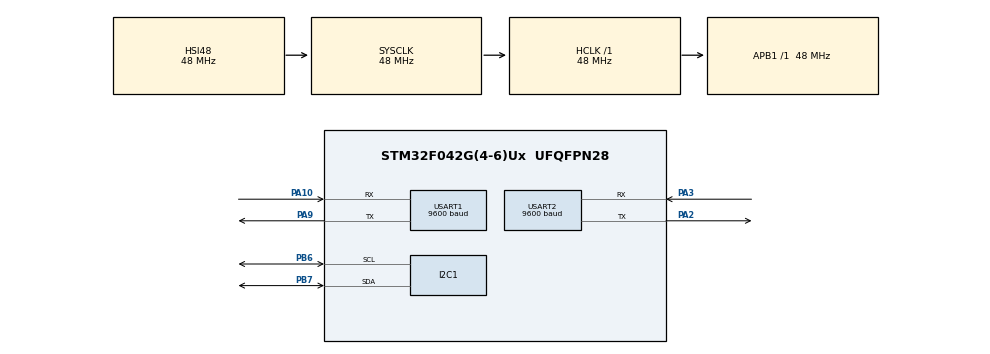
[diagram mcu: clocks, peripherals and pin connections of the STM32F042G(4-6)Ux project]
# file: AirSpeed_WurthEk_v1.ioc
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I2C1.I2C_Rise_Time=251
I2C1.Timing=0x00401D2A
Mcu.Family=STM32F0
Mcu.Name=STM32F042G(4-6)Ux
Mcu.Package=UFQFPN28
PA10.Mode=Asynchronous
PA10.Signal=USART1_RX
PA13.Mode=Serial_Wire
PA13.Signal=SYS_SWDIO
PA14.Mode=Serial_Wire
PA14.Signal=SYS_SWCLK
PA2.Mode=Asynchronous
PA2.Signal=USART2_TX
PA3.Mode=Asynchronous
PA3.Signal=USART2_RX
PA9.Mode=Asynchronous
PA9.Signal=USART1_TX
PB6.GPIO_Pu=GPIO_PULLUP
PB6.Mode=I2C
PB6.Signal=I2C1_SCL
PB7.GPIO_Pu=GPIO_PULLUP
PB7.Mode=I2C
PB7.Signal=I2C1_SDA
ProjectManager.HeapSize=0x200
ProjectManager.StackSize=0x400
ProjectManager.TargetToolchain=STM32CubeIDE
RCC.AHBFreq_Value=48000000
RCC.APB1Freq_Value=48000000
RCC.APB1TimFreq_Value=48000000
RCC.HCLKFreq_Value=48000000
RCC.PLLSourceVirtual=RCC_PLLSOURCE_HSI48
RCC.SYSCLKFreq_VALUE=48000000
RCC.SYSCLKSource=RCC_SYSCLKSOURCE_HSI48
USART1.BaudRate=9600
USART1.VirtualMode-Asynchronous=VM_ASYNC
USART2.BaudRate=9600
USART2.VirtualMode-Asynchronous=VM_ASYNC
board=custom

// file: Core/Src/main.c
/* USER CODE BEGIN Header */
/**
  ******************************************************************************
  * @file           : main.c
  * @brief          : Main program body
  ******************************************************************************
  * @attention
  *
  * Copyright (c) 2025 STMicroelectronics.
  * All rights reserved.
  *
  * This software is licensed under terms that can be found in the LICENSE file
  * in the root directory of this software component.
  * If no LICENSE file comes with this software, it is provided AS-IS.
  *
  ******************************************************************************
  */
/* USER CODE END Header */
#include "main.h"

/* USER CODE BEGIN Includes */
#include <stdio.h>
/* USER CODE END Includes */

I2C_HandleTypeDef hi2c1;

UART_HandleTypeDef huart1;
UART_HandleTypeDef huart2;

void SystemClock_Config(void);
static void MX_GPIO_Init(void);
static void MX_USART1_UART_Init(void);
static void MX_USART2_UART_Init(void);
static void MX_I2C1_Init(void);
/* USER CODE BEGIN PFP */
typedef struct {
    float pressure_kpa;
    float temperature_c;
    float humidity_rh;
    uint8_t *rolldata;
} SensorData_t;

SensorData_t HIDS, PADS, PDUS;

void PADS_Init(I2C_HandleTypeDef *hi2c);
HAL_StatusTypeDef HIDS_Read(I2C_HandleTypeDef *hi2c, SensorData_t *data);
HAL_StatusTypeDef PADS_Read(I2C_HandleTypeDef *hi2c, SensorData_t *data);
HAL_StatusTypeDef PDUS_Read(I2C_HandleTypeDef *hi2c, SensorData_t *data);
/* USER CODE END PFP */

/* USER CODE BEGIN 0 */
uint8_t Send_head[3]  = {0x02,0x00,0x3A};
uint8_t roll_data[18] = {0x02,0x00,0x0F};

/* USER CODE END 0 */

int main(void)
{

  /* MCU Configuration--------------------------------------------------------*/

  /* Reset of all peripherals, Initializes the Flash interface and the Systick. */
  HAL_Init();

  /* Configure the system clock */
  SystemClock_Config();

  /* Initialize all configured peripherals */
  MX_GPIO_Init();
  MX_USART1_UART_Init();
  MX_USART2_UART_Init();
  MX_I2C1_Init();

  /* Infinite loop */
  /* USER CODE BEGIN WHILE */
  PADS_Init(&hi2c1);
  while (1)
  {
    /* USER CODE END WHILE */

    /* USER CODE BEGIN 3 */
	HIDS.rolldata = &roll_data[3];
	PADS.rolldata = &roll_data[9];
	PDUS.rolldata = &roll_data[14];
	HIDS_Read(&hi2c1, &HIDS);
	HAL_Delay(10);
	PADS_Read(&hi2c1, &PADS);
	HAL_Delay(10);
	PDUS_Read(&hi2c1, &PDUS);
	HAL_Delay(10);

	//allroll_read(&hi2c1);

	//uint8_t tt[] = "Hello word";
	HAL_UART_Transmit(&huart1, roll_data, sizeof(roll_data), 100);
	//uint8_t gg[6] = {0x02,0x00,0x3A,0x55,0x85,0x68};
	HAL_UART_Transmit(&huart2, roll_data, sizeof(roll_data), 100);
	HAL_Delay(10);
  }
  /* USER CODE END 3 */
}

void SystemClock_Config(void)
{
  RCC_OscInitTypeDef RCC_OscInitStruct = {0};
  RCC_ClkInitTypeDef RCC_ClkInitStruct = {0};
  RCC_PeriphCLKInitTypeDef PeriphClkInit = {0};

  /** Initializes the RCC Oscillators according to the specified parameters
  * in the RCC_OscInitTypeDef structure.
  */
  RCC_OscInitStruct.OscillatorType = RCC_OSCILLATORTYPE_HSI|RCC_OSCILLATORTYPE_HSI48;
  RCC_OscInitStruct.HSIState = RCC_HSI_ON;
  RCC_OscInitStruct.HSI48State = RCC_HSI48_ON;
  RCC_OscInitStruct.HSICalibrationValue = RCC_HSICALIBRATION_DEFAULT;
  RCC_OscInitStruct.PLL.PLLState = RCC_PLL_NONE;
  if (HAL_RCC_OscConfig(&RCC_OscInitStruct) != HAL_OK)
  {
    Error_Handler();
  }

  /** Initializes the CPU, AHB and APB buses clocks
  */
  RCC_ClkInitStruct.ClockType = RCC_CLOCKTYPE_HCLK|RCC_CLOCKTYPE_SYSCLK
                              |RCC_CLOCKTYPE_PCLK1;
  RCC_ClkInitStruct.SYSCLKSource = RCC_SYSCLKSOURCE_HSI48;
  RCC_ClkInitStruct.AHBCLKDivider = RCC_SYSCLK_DIV1;
  RCC_ClkInitStruct.APB1CLKDivider = RCC_HCLK_DIV1;

  if (HAL_RCC_ClockConfig(&RCC_ClkInitStruct, FLASH_LATENCY_1) != HAL_OK)
  {
    Error_Handler();
  }
  PeriphClkInit.PeriphClockSelection = RCC_PERIPHCLK_USART1|RCC_PERIPHCLK_I2C1;
  PeriphClkInit.Usart1ClockSelection = RCC_USART1CLKSOURCE_PCLK1;
  PeriphClkInit.I2c1ClockSelection = RCC_I2C1CLKSOURCE_HSI;
  if (HAL_RCCEx_PeriphCLKConfig(&PeriphClkInit) != HAL_OK)
  {
    Error_Handler();
  }
}

static void MX_I2C1_Init(void)
{

  hi2c1.Instance = I2C1;
  hi2c1.Init.Timing = 0x00401D2A;
  hi2c1.Init.OwnAddress1 = 0;
  hi2c1.Init.AddressingMode = I2C_ADDRESSINGMODE_7BIT;
  hi2c1.Init.DualAddressMode = I2C_DUALADDRESS_DISABLE;
  hi2c1.Init.OwnAddress2 = 0;
  hi2c1.Init.OwnAddress2Masks = I2C_OA2_NOMASK;
  hi2c1.Init.GeneralCallMode = I2C_GENERALCALL_DISABLE;
  hi2c1.Init.NoStretchMode = I2C_NOSTRETCH_DISABLE;
  if (HAL_I2C_Init(&hi2c1) != HAL_OK)
  {
    Error_Handler();
  }

  /** Configure Analogue filter
  */
  if (HAL_I2CEx_ConfigAnalogFilter(&hi2c1, I2C_ANALOGFILTER_ENABLE) != HAL_OK)
  {
    Error_Handler();
  }

  /** Configure Digital filter
  */
  if (HAL_I2CEx_ConfigDigitalFilter(&hi2c1, 0) != HAL_OK)
  {
    Error_Handler();
  }

}

static void MX_USART1_UART_Init(void)
{

  huart1.Instance = USART1;
  huart1.Init.BaudRate = 9600;
  huart1.Init.WordLength = UART_WORDLENGTH_8B;
  huart1.Init.StopBits = UART_STOPBITS_1;
  huart1.Init.Parity = UART_PARITY_NONE;
  huart1.Init.Mode = UART_MODE_TX_RX;
  huart1.Init.HwFlowCtl = UART_HWCONTROL_NONE;
  huart1.Init.OverSampling = UART_OVERSAMPLING_16;
  huart1.Init.OneBitSampling = UART_ONE_BIT_SAMPLE_DISABLE;
  huart1.AdvancedInit.AdvFeatureInit = UART_ADVFEATURE_NO_INIT;
  if (HAL_UART_Init(&huart1) != HAL_OK)
  {
    Error_Handler();
  }

}

static void MX_USART2_UART_Init(void)
{

  huart2.Instance = USART2;
  huart2.Init.BaudRate = 9600;
  huart2.Init.WordLength = UART_WORDLENGTH_8B;
  huart2.Init.StopBits = UART_STOPBITS_1;
  huart2.Init.Parity = UART_PARITY_NONE;
  huart2.Init.Mode = UART_MODE_TX_RX;
  huart2.Init.HwFlowCtl = UART_HWCONTROL_NONE;
  huart2.Init.OverSampling = UART_OVERSAMPLING_16;
  huart2.Init.OneBitSampling = UART_ONE_BIT_SAMPLE_DISABLE;
  huart2.AdvancedInit.AdvFeatureInit = UART_ADVFEATURE_NO_INIT;
  if (HAL_UART_Init(&huart2) != HAL_OK)
  {
    Error_Handler();
  }

}

static void MX_GPIO_Init(void)
{

  /* GPIO Ports Clock Enable */
  __HAL_RCC_GPIOA_CLK_ENABLE();
  __HAL_RCC_GPIOB_CLK_ENABLE();

}

/* USER CODE BEGIN 4 */
#define HIDS_ADDR (0x44 <<1) //WSEN-HIDS (I²C 0x44) 讀取
#define PADS_ADDR (0x5C <<1) //WSEN-PADS (I²C 0x5C) 氣壓與溫度
#define PDUS_ADDR (0x78 <<1)

HAL_StatusTypeDef HIDS_Read(I2C_HandleTypeDef *hi2c, SensorData_t *data)
{
    uint8_t cmd = 0xFD;
    uint8_t rx[6];
    HAL_I2C_Master_Transmit(hi2c, HIDS_ADDR, &cmd, 1, HAL_MAX_DELAY);
    HAL_Delay(9); // wait conversion
    HAL_I2C_Master_Receive(hi2c, HIDS_ADDR, data->rolldata, 6, HAL_MAX_DELAY);

    uint16_t Traw = (data->rolldata[0] << 8) | data->rolldata[1];
    uint16_t RHraw = (data->rolldata[3] << 8) | data->rolldata[4];

    data->temperature_c = -45.0f + 175.0f * (float)Traw / 65535.0f;
    data->humidity_rh = 100.0f * (float)RHraw / 65535.0f;
    return HAL_OK;
}

void PADS_Init(I2C_HandleTypeDef *hi2c)
{
    uint8_t cfg[2] = {0x11, 0b00010010}; //
    HAL_I2C_Master_Transmit(hi2c, PADS_ADDR, cfg, 2, HAL_MAX_DELAY);
    uint8_t cfg2[2] = {0x10, 0b01001000}; //
    HAL_I2C_Master_Transmit(hi2c, PADS_ADDR, cfg2, 2, HAL_MAX_DELAY);
}

HAL_StatusTypeDef PADS_Read(I2C_HandleTypeDef *hi2c, SensorData_t *data)
{
    uint8_t reg = 0x28;
    uint8_t rx[5];
    HAL_I2C_Master_Transmit(hi2c, PADS_ADDR, &reg, 1, HAL_MAX_DELAY);
    HAL_Delay(10);
    HAL_I2C_Master_Receive(hi2c, PADS_ADDR, data->rolldata, 5, HAL_MAX_DELAY);

    int32_t Praw = ((int32_t)data->rolldata[2] << 16) | ((int32_t)data->rolldata[1] << 8) | data->rolldata[0];
    int16_t Traw = (int16_t)((data->rolldata[4] << 8) | data->rolldata[3]);
    data->pressure_kpa = (float)Praw / 40960.0f ; // convert Pa → kPa
    data->temperature_c = Traw * 0.01f;
    return HAL_OK;
}

//WSEN-PDUS (I²C 0x78) 差壓與溫度

#define OUTPMIN  3277
#define SENP     7.63e-5
#define PMIN     -1.0

HAL_StatusTypeDef PDUS_Read(I2C_HandleTypeDef *hi2c, SensorData_t *data)
{
    uint8_t rx[4];
    HAL_I2C_Master_Receive(hi2c, PDUS_ADDR, data->rolldata, 4, HAL_MAX_DELAY);

    uint16_t Praw = ((uint16_t)(data->rolldata[0] << 8) | data->rolldata[1]) & 0x7FFF;
    uint16_t Traw = ((uint16_t)(data->rolldata[2] << 8) | data->rolldata[3]) & 0x7FFF;

    data->pressure_kpa = (float)(Praw - OUTPMIN) * SENP + PMIN;
    data->temperature_c = (float)(Traw - 8192) * 4.272e-3f;
    return HAL_OK;
}

/* USER CODE END 4 */

void Error_Handler(void)
{
  __disable_irq();
  while (1)
  {
  }
}
